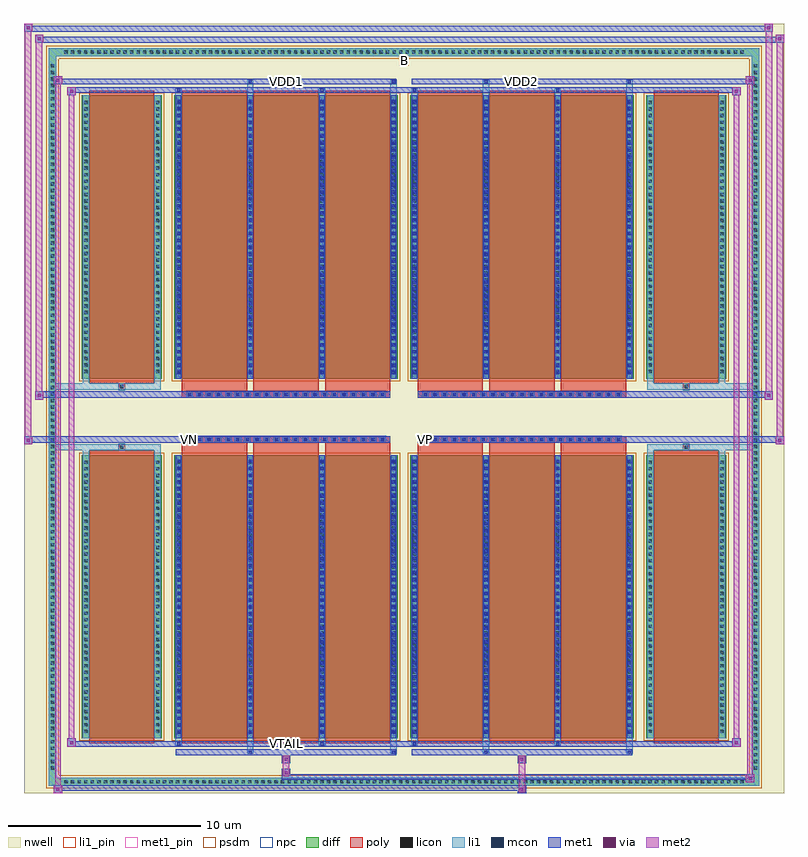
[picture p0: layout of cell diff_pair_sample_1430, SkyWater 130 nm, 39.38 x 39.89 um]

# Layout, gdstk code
import gdstk
lib = gdstk.Library(unit=1e-6, precision=5e-09)
def R(c, l, rs):  # rectangles x0, y0, x1, y1
    for r in rs: c.add(gdstk.rectangle(r[:2], r[2:], *l))
def A(c, l, x, y, w, h, nx, ny, dx, dy):  # array of equal rectangles
    R(c, l, [(x+i*dx, y+j*dy, x+i*dx+w, y+j*dy+h) for i in range(nx) for j in range(ny)])
def P(c, l, *ps):  # polygons
    for p in ps: c.add(gdstk.Polygon(p, *l))
nwell = (64, 20)
diff = (65, 20)
poly = (66, 20)
licon = (66, 44)
li1_pin = (67, 16)
li1 = (67, 20)
mcon = (67, 44)
met1_pin = (68, 16)
met1 = (68, 20)
via = (68, 44)
met2 = (69, 20)
psdm = (94, 20)
npc = (95, 20)

diff_pair_sample_1430 = lib.new_cell('diff_pair_sample_1430')
R(diff_pair_sample_1430, nwell, [(-19.69,-19.51,19.69,20.38), (-17.01,-17.7,-0.01,-0.8), (0.01,-17.7,17.01,-0.8), (-17.01,0.8,-0.01,17.7), (0.01,0.8,17.01,17.7)])
A(diff_pair_sample_1430, diff, -17.715, -19.11, 0.41, 0.41, 104, 2, 0.34, 37.81)
A(diff_pair_sample_1430, diff, -18.42, -18.395, 0.41, 0.41, 1, 108, 0, 0.34)
A(diff_pair_sample_1430, diff, 18.01, -18.395, 0.41, 0.41, 1, 108, 0, 0.34)
R(diff_pair_sample_1430, diff, [(-17.715,-19.11,17.715,-18.7), (-18.42,-18.395,-18.01,18.395), (18.01,-18.395,18.42,18.395), (-16.7,-16.655,-12.54,-1.985), (-11.9,-16.655,-0.32,-1.985), (0.32,-16.655,11.9,-1.985), (12.54,-16.655,16.7,-1.985), (-16.7,1.985,-12.54,16.655), (-11.9,1.985,-0.32,16.655), (0.32,1.985,11.9,16.655), (12.54,1.985,16.7,16.655), (-17.715,18.7,17.715,19.11)])
P(diff_pair_sample_1430, diff, [(18.42,19.11),(-18.42,19.11),(-18.42,-18.7),(-18.01,-18.7),(-18.01,18.7),(18.01,18.7),(18.01,-18.7),(-18.01,-18.7),(-18.42,-18.7),(-18.42,-19.11),(18.42,-19.11)])
A(diff_pair_sample_1430, poly, -11.51, -16.905, 3.38, 15.17, 3, 2, 3.71, 18.64)
A(diff_pair_sample_1430, poly, 0.71, -16.905, 3.38, 15.17, 3, 2, 3.71, 18.64)
A(diff_pair_sample_1430, poly, -11.51, -1.735, 3.38, 0.405, 3, 2, 3.71, 3.065)
A(diff_pair_sample_1430, poly, 0.71, -1.735, 3.38, 0.405, 3, 2, 3.71, 3.065)
A(diff_pair_sample_1430, poly, -11.275, -1.33, 0.33, 0.33, 21, 2, 0.5, 2.33)
A(diff_pair_sample_1430, poly, 0.945, -1.33, 0.33, 0.33, 21, 2, 0.5, 2.33)
R(diff_pair_sample_1430, poly, [(-16.31,-16.905,-12.93,-1.735), (12.93,-16.905,16.31,-1.735), (-14.785,-1.735,-14.455,-1.405), (-14.785,-1.735,-14.455,-1.405), (14.455,-1.735,14.785,-1.405), (14.455,-1.735,14.785,-1.405), (-11.51,-1.33,-0.71,-1), (0.71,-1.33,11.51,-1), (-11.51,1,-0.71,1.33), (0.71,1,11.51,1.33), (-14.785,1.405,-14.455,1.735), (-14.785,1.405,-14.455,1.735), (14.455,1.405,14.785,1.735), (14.455,1.405,14.785,1.735), (-16.31,1.735,-12.93,16.905), (12.93,1.735,16.31,16.905)])
A(diff_pair_sample_1430, licon, -17.595, -18.99, 0.17, 0.17, 104, 2, 0.34, 37.81)
A(diff_pair_sample_1430, licon, -18.3, -18.275, 0.17, 0.17, 1, 108, 0, 0.34)
A(diff_pair_sample_1430, licon, 18.13, -18.275, 0.17, 0.17, 1, 108, 0, 0.34)
A(diff_pair_sample_1430, licon, -16.56, -16.375, 0.17, 0.17, 1, 42, 0, 0.34)
A(diff_pair_sample_1430, licon, -12.85, -16.375, 0.17, 0.17, 1, 42, 0, 0.34)
A(diff_pair_sample_1430, licon, -11.76, -16.375, 0.17, 0.17, 4, 42, 3.71, 0.34)
A(diff_pair_sample_1430, licon, 0.46, -16.375, 0.17, 0.17, 4, 42, 3.71, 0.34)
A(diff_pair_sample_1430, licon, 12.68, -16.375, 0.17, 0.17, 1, 42, 0, 0.34)
A(diff_pair_sample_1430, licon, 16.39, -16.375, 0.17, 0.17, 1, 42, 0, 0.34)
A(diff_pair_sample_1430, licon, -11.195, -1.25, 0.17, 0.17, 21, 2, 0.5, 2.33)
A(diff_pair_sample_1430, licon, 1.025, -1.25, 0.17, 0.17, 21, 2, 0.5, 2.33)
A(diff_pair_sample_1430, licon, -16.56, 2.265, 0.17, 0.17, 1, 42, 0, 0.34)
A(diff_pair_sample_1430, licon, -12.85, 2.265, 0.17, 0.17, 1, 42, 0, 0.34)
A(diff_pair_sample_1430, licon, -11.76, 2.265, 0.17, 0.17, 4, 42, 3.71, 0.34)
A(diff_pair_sample_1430, licon, 0.46, 2.265, 0.17, 0.17, 4, 42, 3.71, 0.34)
A(diff_pair_sample_1430, licon, 12.68, 2.265, 0.17, 0.17, 1, 42, 0, 0.34)
A(diff_pair_sample_1430, licon, 16.39, 2.265, 0.17, 0.17, 1, 42, 0, 0.34)
R(diff_pair_sample_1430, licon, [(-14.705,-1.655,-14.535,-1.485), (14.535,-1.655,14.705,-1.485), (-14.705,1.485,-14.535,1.655), (14.535,1.485,14.705,1.655)])
R(diff_pair_sample_1430, li1_pin, [(-0.25,18.2,0.25,18.7)])
A(diff_pair_sample_1430, li1, -17.675, -19.07, 0.33, 0.33, 104, 2, 0.34, 37.81)
A(diff_pair_sample_1430, li1, -18.38, -18.355, 0.33, 0.33, 1, 108, 0, 0.34)
A(diff_pair_sample_1430, li1, 18.05, -18.355, 0.33, 0.33, 1, 108, 0, 0.34)
A(diff_pair_sample_1430, li1, -11.84, -16.655, 0.33, 14.67, 4, 2, 3.71, 18.64)
A(diff_pair_sample_1430, li1, 0.38, -16.655, 0.33, 14.67, 4, 2, 3.71, 18.64)
A(diff_pair_sample_1430, li1, -16.64, -16.455, 0.33, 0.33, 1, 42, 0, 0.34)
A(diff_pair_sample_1430, li1, -12.93, -16.455, 0.33, 0.33, 1, 42, 0, 0.34)
A(diff_pair_sample_1430, li1, -11.84, -16.455, 0.33, 0.33, 4, 42, 3.71, 0.34)
A(diff_pair_sample_1430, li1, 0.38, -16.455, 0.33, 0.33, 4, 42, 3.71, 0.34)
A(diff_pair_sample_1430, li1, 12.6, -16.455, 0.33, 0.33, 1, 42, 0, 0.34)
A(diff_pair_sample_1430, li1, 16.31, -16.455, 0.33, 0.33, 1, 42, 0, 0.34)
A(diff_pair_sample_1430, li1, -11.76, -16.425, 0.17, 0.17, 4, 40, 3.71, 0.36)
A(diff_pair_sample_1430, li1, -11.76, -16.425, 0.17, 14.21, 4, 2, 3.71, 18.64)
A(diff_pair_sample_1430, li1, 0.46, -16.425, 0.17, 0.17, 4, 40, 3.71, 0.36)
A(diff_pair_sample_1430, li1, 0.46, -16.425, 0.17, 14.21, 4, 2, 3.71, 18.64)
A(diff_pair_sample_1430, li1, -11.275, -1.33, 0.33, 0.33, 21, 2, 0.5, 2.33)
A(diff_pair_sample_1430, li1, 0.945, -1.33, 0.33, 0.33, 21, 2, 0.5, 2.33)
A(diff_pair_sample_1430, li1, -16.64, 2.185, 0.33, 0.33, 1, 42, 0, 0.34)
A(diff_pair_sample_1430, li1, -12.93, 2.185, 0.33, 0.33, 1, 42, 0, 0.34)
A(diff_pair_sample_1430, li1, -11.84, 2.185, 0.33, 0.33, 4, 42, 3.71, 0.34)
A(diff_pair_sample_1430, li1, 0.38, 2.185, 0.33, 0.33, 4, 42, 3.71, 0.34)
A(diff_pair_sample_1430, li1, 12.6, 2.185, 0.33, 0.33, 1, 42, 0, 0.34)
A(diff_pair_sample_1430, li1, 16.31, 2.185, 0.33, 0.33, 1, 42, 0, 0.34)
A(diff_pair_sample_1430, li1, -11.76, 2.215, 0.17, 0.17, 4, 40, 3.71, 0.36)
A(diff_pair_sample_1430, li1, 0.46, 2.215, 0.17, 0.17, 4, 40, 3.71, 0.36)
R(diff_pair_sample_1430, li1, [(-18.42,-19.11,-18.01,-18.7), (-18.42,-19.11,-18.01,-18.7), (-18.01,-19.11,18.01,-18.7), (18.01,-19.11,18.42,-18.7), (18.01,-19.11,18.42,-18.7), (-18.42,-18.7,-18.01,18.7), (18.01,-18.7,18.42,18.7), (-8.13,-17.46,-7.8,-16.655), (-8.05,-17.46,-7.88,-17.29), (-0.71,-17.46,-0.38,-16.655), (-0.63,-17.46,-0.46,-17.29), (4.09,-17.46,4.42,-16.655), (4.17,-17.46,4.34,-17.29), (11.51,-17.46,11.84,-16.655), (11.59,-17.46,11.76,-17.29), (-11.84,-17.03,-11.51,-16.655), (-11.76,-17.03,-11.59,-16.86), (-4.42,-17.03,-4.09,-16.655), (-4.34,-17.03,-4.17,-16.86), (0.38,-17.03,0.71,-16.655), (0.46,-17.03,0.63,-16.86), (7.8,-17.03,8.13,-16.655), (7.88,-17.03,8.05,-16.86), (-16.64,-16.655,-16.31,-1.985), (-12.93,-16.655,-12.6,-1.985), (12.6,-16.655,12.93,-1.985), (16.31,-16.655,16.64,-1.985), (-16.64,-1.985,-16.31,-1.405), (-12.93,-1.985,-12.6,-1.405), (12.6,-1.985,12.93,-1.405), (16.31,-1.985,16.64,-1.405), (-18.42,-1.735,-14.785,-1.405), (-16.64,-1.735,-14.785,-1.405), (-14.785,-1.735,-14.455,-1.405), (-14.455,-1.735,-12.6,-1.405), (12.6,-1.735,14.455,-1.405), (14.455,-1.735,14.785,-1.405), (14.455,-1.735,18.42,-1.405), (14.785,-1.735,16.64,-1.405), (-18.42,1.405,-14.785,1.735), (-16.64,1.405,-14.785,1.735), (-16.64,1.405,-16.31,1.985), (-14.785,1.405,-14.455,1.735), (-14.455,1.405,-12.6,1.735), (-12.93,1.405,-12.6,1.985), (12.6,1.405,14.455,1.735), (12.6,1.405,12.93,1.985), (14.455,1.405,14.785,1.735), (14.455,1.405,18.42,1.735), (14.785,1.405,16.64,1.735), (16.31,1.405,16.64,1.985), (-16.64,1.985,-16.31,16.655), (-12.93,1.985,-12.6,16.655), (12.6,1.985,12.93,16.655), (16.31,1.985,16.64,16.655), (-11.84,16.655,-11.51,17.03), (-8.13,16.655,-7.8,17.46), (-4.42,16.655,-4.09,17.03), (-0.71,16.655,-0.38,17.46), (0.38,16.655,0.71,17.03), (4.09,16.655,4.42,17.46), (7.8,16.655,8.13,17.03), (11.51,16.655,11.84,17.46), (-11.76,16.86,-11.59,17.03), (-4.34,16.86,-4.17,17.03), (0.46,16.86,0.63,17.03), (7.88,16.86,8.05,17.03), (-8.05,17.29,-7.88,17.46), (-0.63,17.29,-0.46,17.46), (4.17,17.29,4.34,17.46), (11.59,17.29,11.76,17.46), (-18.42,18.7,-18.01,19.11), (-18.42,18.7,-18.01,19.11), (-18.01,18.7,18.01,19.11), (18.01,18.7,18.42,19.11), (18.01,18.7,18.42,19.11)])
A(diff_pair_sample_1430, mcon, -11.76, -16.425, 0.17, 0.17, 4, 40, 3.71, 0.36)
A(diff_pair_sample_1430, mcon, 0.46, -16.425, 0.17, 0.17, 4, 40, 3.71, 0.36)
A(diff_pair_sample_1430, mcon, -11.195, -1.25, 0.17, 0.17, 21, 2, 0.5, 2.33)
A(diff_pair_sample_1430, mcon, 1.025, -1.25, 0.17, 0.17, 21, 2, 0.5, 2.33)
A(diff_pair_sample_1430, mcon, -11.76, 2.215, 0.17, 0.17, 4, 40, 3.71, 0.36)
A(diff_pair_sample_1430, mcon, 0.46, 2.215, 0.17, 0.17, 4, 40, 3.71, 0.36)
R(diff_pair_sample_1430, mcon, [(-8.05,-17.46,-7.88,-17.29), (-0.63,-17.46,-0.46,-17.29), (4.17,-17.46,4.34,-17.29), (11.59,-17.46,11.76,-17.29), (-11.76,-17.03,-11.59,-16.86), (-4.34,-17.03,-4.17,-16.86), (0.46,-17.03,0.63,-16.86), (7.88,-17.03,8.05,-16.86), (-11.76,16.86,-11.59,17.03), (-4.34,16.86,-4.17,17.03), (0.46,16.86,0.63,17.03), (7.88,16.86,8.05,17.03), (-8.05,17.29,-7.88,17.46), (-0.63,17.29,-0.46,17.46), (4.17,17.29,4.34,17.46), (11.59,17.29,11.76,17.46)])
R(diff_pair_sample_1430, met1_pin, [(-6.245,-17.07,-5.975,-16.8), (-11.245,-1.29,-10.975,-1.02), (0.975,-1.29,1.245,-1.02), (-6.245,17.25,-5.975,17.52), (5.975,17.25,6.245,17.52)])
A(diff_pair_sample_1430, met1, -11.82, -16.655, 0.29, 14.67, 4, 2, 3.71, 18.64)
A(diff_pair_sample_1430, met1, 0.4, -16.655, 0.29, 14.67, 4, 2, 3.71, 18.64)
A(diff_pair_sample_1430, met1, -11.82, -16.485, 0.29, 0.29, 4, 40, 3.71, 0.36)
A(diff_pair_sample_1430, met1, 0.4, -16.485, 0.29, 0.29, 4, 40, 3.71, 0.36)
A(diff_pair_sample_1430, met1, -11.255, -1.31, 0.29, 0.29, 21, 2, 0.5, 2.33)
A(diff_pair_sample_1430, met1, 0.965, -1.31, 0.29, 0.29, 21, 2, 0.5, 2.33)
A(diff_pair_sample_1430, met1, -11.82, 2.155, 0.29, 0.29, 4, 40, 3.71, 0.36)
A(diff_pair_sample_1430, met1, 0.4, 2.155, 0.29, 0.29, 4, 40, 3.71, 0.36)
R(diff_pair_sample_1430, met1, [(-18.15,-19.51,-17.72,-19.08), (5.895,-19.51,6.325,-19.08), (-18.15,-19.37,6.325,-19.08), (17.72,-18.94,18.15,-18.51), (-6.325,-18.8,18.15,-18.51), (-6.325,-18.66,-5.895,-18.23), (-6.325,-17.95,-5.895,-17.52), (5.895,-17.95,6.325,-17.52), (-11.82,-17.52,-0.4,-17.23), (-8.11,-17.52,-7.82,-17.23), (-0.69,-17.52,-0.4,-17.23), (0.4,-17.52,11.82,-17.23), (4.11,-17.52,4.4,-17.23), (11.53,-17.52,11.82,-17.23), (-17.44,-17.09,-17.01,-16.66), (-17.44,-17.09,-11.82,-16.8), (-11.82,-17.09,-11.53,-16.8), (-11.82,-17.09,-0.4,-16.8), (-4.4,-17.09,-4.11,-16.8), (-0.4,-17.09,0.4,-16.8), (0.4,-17.09,0.69,-16.8), (0.4,-17.09,11.82,-16.8), (7.82,-17.09,8.11,-16.8), (11.82,-17.09,17.44,-16.8), (17.01,-17.09,17.44,-16.66), (-19.69,-1.43,-19.26,-1), (19.26,-1.43,19.69,-1), (-19.69,-1.33,-0.71,-1), (-11.51,-1.33,-0.71,-1), (0.71,-1.33,11.51,-1), (0.71,-1.33,19.69,-1), (-19.12,0.9,-18.69,1.33), (18.69,0.9,19.12,1.33), (-19.12,1,-11.51,1.33), (-11.51,1,-0.71,1.33), (0.71,1,11.51,1.33), (11.51,1,19.12,1.33), (-17.44,16.66,-17.01,17.09), (17.01,16.66,17.44,17.09), (-17.44,16.8,-11.82,17.09), (-11.82,16.8,-11.53,17.09), (-11.82,16.8,-0.4,17.09), (-4.4,16.8,-4.11,17.09), (-0.4,16.8,0.4,17.09), (0.4,16.8,0.69,17.09), (0.4,16.8,11.82,17.09), (7.82,16.8,8.11,17.09), (11.82,16.8,17.44,17.09), (-18.15,17.23,-17.72,17.66), (-18.15,17.23,-11.82,17.52), (-11.82,17.23,-0.4,17.52), (-8.11,17.23,-7.82,17.52), (-0.69,17.23,-0.4,17.52), (0.4,17.23,11.82,17.52), (4.11,17.23,4.4,17.52), (11.53,17.23,11.82,17.52), (11.82,17.23,18.15,17.52), (17.72,17.23,18.15,17.66), (-19.12,19.38,-18.69,19.81), (-19.12,19.38,-17.01,19.71), (-17.01,19.38,17.01,19.71), (17.01,19.38,19.69,19.71), (19.26,19.38,19.69,19.81), (-19.69,19.95,-19.26,20.38), (-19.69,19.95,-17.01,20.28), (-17.01,19.95,17.01,20.28), (17.01,19.95,19.12,20.28), (18.69,19.95,19.12,20.38)])
R(diff_pair_sample_1430, via, [(-18.01,-19.37,-17.86,-19.22), (6.035,-19.37,6.185,-19.22), (17.86,-18.8,18.01,-18.65), (-6.185,-18.52,-6.035,-18.37), (-6.185,-17.81,-6.035,-17.66), (6.035,-17.81,6.185,-17.66), (-17.3,-16.95,-17.15,-16.8), (17.15,-16.95,17.3,-16.8), (-19.55,-1.29,-19.4,-1.14), (19.4,-1.29,19.55,-1.14), (-18.98,1.04,-18.83,1.19), (18.83,1.04,18.98,1.19), (-17.3,16.8,-17.15,16.95), (17.15,16.8,17.3,16.95), (-18.01,17.37,-17.86,17.52), (17.86,17.37,18.01,17.52), (-18.98,19.52,-18.83,19.67), (19.4,19.52,19.55,19.67), (-19.55,20.09,-19.4,20.24), (18.83,20.09,18.98,20.24)])
R(diff_pair_sample_1430, met2, [(-18.15,-19.51,-17.72,-19.08), (-18.08,-19.51,-17.79,17.66), (-17.79,-19.51,-17.72,-19.08), (-18.1,-19.46,-17.77,-19.13), (5.945,-19.46,6.275,-19.13), (5.945,-19.13,6.275,-17.9), (17.72,-18.94,18.15,-18.51), (17.79,-18.94,18.08,17.66), (18.08,-18.94,18.15,-18.51), (17.77,-18.89,18.1,-18.56), (-6.275,-18.61,-5.945,-18.28), (-6.275,-18.28,-5.945,-17.9), (-6.275,-17.9,-5.945,-17.57), (5.945,-17.9,6.275,-17.57), (-17.44,-17.09,-17.01,-16.66), (-17.37,-17.09,-17.08,17.09), (-17.08,-17.09,-17.01,-16.66), (17.01,-17.09,17.44,-16.66), (17.08,-17.09,17.37,17.09), (17.37,-17.09,17.44,-16.66), (-17.39,-17.04,-17.06,-16.71), (17.06,-17.04,17.39,-16.71), (-19.69,-1.43,-19.26,-1), (-19.64,-1.43,-19.31,20.38), (-19.31,-1.43,-19.26,-1), (19.26,-1.43,19.69,-1), (19.31,-1.43,19.64,19.81), (19.64,-1.43,19.69,-1), (-19.64,-1.38,-19.31,-1.05), (19.31,-1.38,19.64,-1.05), (-19.12,0.9,-18.69,1.33), (-19.07,0.9,-18.74,19.81), (-18.74,0.9,-18.69,1.33), (18.69,0.9,19.12,1.33), (18.74,0.9,19.07,20.38), (19.07,0.9,19.12,1.33), (-19.07,0.95,-18.74,1.28), (18.74,0.95,19.07,1.28), (-17.44,16.66,-17.01,17.09), (-17.08,16.66,-17.01,17.09), (17.01,16.66,17.44,17.09), (17.37,16.66,17.44,17.09), (-17.39,16.71,-17.06,17.04), (17.06,16.71,17.39,17.04), (-18.15,17.23,-17.72,17.66), (-17.79,17.23,-17.72,17.66), (17.72,17.23,18.15,17.66), (18.08,17.23,18.15,17.66), (-18.1,17.28,-17.77,17.61), (17.77,17.28,18.1,17.61), (-19.12,19.38,-18.69,19.81), (-18.74,19.38,-18.69,19.81), (19.26,19.38,19.69,19.81), (19.64,19.38,19.69,19.81), (-19.07,19.43,-18.74,19.76), (19.31,19.43,19.64,19.76), (-19.69,19.95,-19.26,20.38), (-19.31,19.95,-19.26,20.38), (18.69,19.95,19.12,20.38), (19.07,19.95,19.12,20.38), (-19.64,20,-19.31,20.33), (18.74,20,19.07,20.33)])
R(diff_pair_sample_1430, psdm, [(-16.83,-16.785,-12.41,-1.855), (-12.03,-16.785,-0.19,-1.855), (0.19,-16.785,12.03,-1.855), (12.41,-16.785,16.83,-1.855), (-16.83,1.855,-12.41,16.785), (-12.03,1.855,-0.19,16.785), (0.19,1.855,12.03,16.785), (12.41,1.855,16.83,16.785)])
P(diff_pair_sample_1430, psdm, [(18.55,19.24),(-18.55,19.24),(-18.55,-18.57),(-17.88,-18.57),(-17.88,18.57),(17.88,18.57),(17.88,-18.57),(-17.88,-18.57),(-18.55,-18.57),(-18.55,-19.24),(18.55,-19.24)])
A(diff_pair_sample_1430, npc, -11.295, -1.35, 0.37, 0.37, 21, 2, 0.5, 2.33)
A(diff_pair_sample_1430, npc, 0.925, -1.35, 0.37, 0.37, 21, 2, 0.5, 2.33)
R(diff_pair_sample_1430, npc, [(-14.805,-1.755,-14.435,-1.385), (14.435,-1.755,14.805,-1.385), (-11.295,-1.35,-10.425,-0.98), (-11.295,-1.35,-10.425,-0.98), (-10.795,-1.35,-9.925,-0.98), (-10.795,-1.35,-9.925,-0.98), (-10.295,-1.35,-9.425,-0.98), (-10.295,-1.35,-9.425,-0.98), (-9.795,-1.35,-8.925,-0.98), (-9.795,-1.35,-8.925,-0.98), (-9.295,-1.35,-8.425,-0.98), (-9.295,-1.35,-8.425,-0.98), (-8.795,-1.35,-7.925,-0.98), (-8.795,-1.35,-7.925,-0.98), (-8.295,-1.35,-7.425,-0.98), (-8.295,-1.35,-7.425,-0.98), (-7.795,-1.35,-6.925,-0.98), (-7.795,-1.35,-6.925,-0.98), (-7.295,-1.35,-6.425,-0.98), (-7.295,-1.35,-6.425,-0.98), (-6.795,-1.35,-5.925,-0.98), (-6.795,-1.35,-5.925,-0.98), (-6.295,-1.35,-5.425,-0.98), (-6.295,-1.35,-5.425,-0.98), (-5.795,-1.35,-4.925,-0.98), (-5.795,-1.35,-4.925,-0.98), (-5.295,-1.35,-4.425,-0.98), (-5.295,-1.35,-4.425,-0.98), (-4.795,-1.35,-3.925,-0.98), (-4.795,-1.35,-3.925,-0.98), (-4.295,-1.35,-3.425,-0.98), (-4.295,-1.35,-3.425,-0.98), (-3.795,-1.35,-2.925,-0.98), (-3.795,-1.35,-2.925,-0.98), (-3.295,-1.35,-2.425,-0.98), (-3.295,-1.35,-2.425,-0.98), (-2.795,-1.35,-1.925,-0.98), (-2.795,-1.35,-1.925,-0.98), (-2.295,-1.35,-1.425,-0.98), (-2.295,-1.35,-1.425,-0.98), (-1.795,-1.35,-0.925,-0.98), (-1.795,-1.35,-0.925,-0.98), (0.925,-1.35,1.795,-0.98), (0.925,-1.35,1.795,-0.98), (1.425,-1.35,2.295,-0.98), (1.425,-1.35,2.295,-0.98), (1.925,-1.35,2.795,-0.98), (1.925,-1.35,2.795,-0.98), (2.425,-1.35,3.295,-0.98), (2.425,-1.35,3.295,-0.98), (2.925,-1.35,3.795,-0.98), (2.925,-1.35,3.795,-0.98), (3.425,-1.35,4.295,-0.98), (3.425,-1.35,4.295,-0.98), (3.925,-1.35,4.795,-0.98), (3.925,-1.35,4.795,-0.98), (4.425,-1.35,5.295,-0.98), (4.425,-1.35,5.295,-0.98), (4.925,-1.35,5.795,-0.98), (4.925,-1.35,5.795,-0.98), (5.425,-1.35,6.295,-0.98), (5.425,-1.35,6.295,-0.98), (5.925,-1.35,6.795,-0.98), (5.925,-1.35,6.795,-0.98), (6.425,-1.35,7.295,-0.98), (6.425,-1.35,7.295,-0.98), (6.925,-1.35,7.795,-0.98), (6.925,-1.35,7.795,-0.98), (7.425,-1.35,8.295,-0.98), (7.425,-1.35,8.295,-0.98), (7.925,-1.35,8.795,-0.98), (7.925,-1.35,8.795,-0.98), (8.425,-1.35,9.295,-0.98), (8.425,-1.35,9.295,-0.98), (8.925,-1.35,9.795,-0.98), (8.925,-1.35,9.795,-0.98), (9.425,-1.35,10.295,-0.98), (9.425,-1.35,10.295,-0.98), (9.925,-1.35,10.795,-0.98), (9.925,-1.35,10.795,-0.98), (10.425,-1.35,11.295,-0.98), (10.425,-1.35,11.295,-0.98), (-11.295,0.98,-10.425,1.35), (-11.295,0.98,-10.425,1.35), (-10.795,0.98,-9.925,1.35), (-10.795,0.98,-9.925,1.35), (-10.295,0.98,-9.425,1.35), (-10.295,0.98,-9.425,1.35), (-9.795,0.98,-8.925,1.35), (-9.795,0.98,-8.925,1.35), (-9.295,0.98,-8.425,1.35), (-9.295,0.98,-8.425,1.35), (-8.795,0.98,-7.925,1.35), (-8.795,0.98,-7.925,1.35), (-8.295,0.98,-7.425,1.35), (-8.295,0.98,-7.425,1.35), (-7.795,0.98,-6.925,1.35), (-7.795,0.98,-6.925,1.35), (-7.295,0.98,-6.425,1.35), (-7.295,0.98,-6.425,1.35), (-6.795,0.98,-5.925,1.35), (-6.795,0.98,-5.925,1.35), (-6.295,0.98,-5.425,1.35), (-6.295,0.98,-5.425,1.35), (-5.795,0.98,-4.925,1.35), (-5.795,0.98,-4.925,1.35), (-5.295,0.98,-4.425,1.35), (-5.295,0.98,-4.425,1.35), (-4.795,0.98,-3.925,1.35), (-4.795,0.98,-3.925,1.35), (-4.295,0.98,-3.425,1.35), (-4.295,0.98,-3.425,1.35), (-3.795,0.98,-2.925,1.35), (-3.795,0.98,-2.925,1.35), (-3.295,0.98,-2.425,1.35), (-3.295,0.98,-2.425,1.35), (-2.795,0.98,-1.925,1.35), (-2.795,0.98,-1.925,1.35), (-2.295,0.98,-1.425,1.35), (-2.295,0.98,-1.425,1.35), (-1.795,0.98,-0.925,1.35), (-1.795,0.98,-0.925,1.35), (0.925,0.98,1.795,1.35), (0.925,0.98,1.795,1.35), (1.425,0.98,2.295,1.35), (1.425,0.98,2.295,1.35), (1.925,0.98,2.795,1.35), (1.925,0.98,2.795,1.35), (2.425,0.98,3.295,1.35), (2.425,0.98,3.295,1.35), (2.925,0.98,3.795,1.35), (2.925,0.98,3.795,1.35), (3.425,0.98,4.295,1.35), (3.425,0.98,4.295,1.35), (3.925,0.98,4.795,1.35), (3.925,0.98,4.795,1.35), (4.425,0.98,5.295,1.35), (4.425,0.98,5.295,1.35), (4.925,0.98,5.795,1.35), (4.925,0.98,5.795,1.35), (5.425,0.98,6.295,1.35), (5.425,0.98,6.295,1.35), (5.925,0.98,6.795,1.35), (5.925,0.98,6.795,1.35), (6.425,0.98,7.295,1.35), (6.425,0.98,7.295,1.35), (6.925,0.98,7.795,1.35), (6.925,0.98,7.795,1.35), (7.425,0.98,8.295,1.35), (7.425,0.98,8.295,1.35), (7.925,0.98,8.795,1.35), (7.925,0.98,8.795,1.35), (8.425,0.98,9.295,1.35), (8.425,0.98,9.295,1.35), (8.925,0.98,9.795,1.35), (8.925,0.98,9.795,1.35), (9.425,0.98,10.295,1.35), (9.425,0.98,10.295,1.35), (9.925,0.98,10.795,1.35), (9.925,0.98,10.795,1.35), (10.425,0.98,11.295,1.35), (10.425,0.98,11.295,1.35), (-14.805,1.385,-14.435,1.755), (14.435,1.385,14.805,1.755)])
diff_pair_sample_1430.add(gdstk.Label('VTAIL', (-6.11,-16.935), layer=68, texttype=5))
diff_pair_sample_1430.add(gdstk.Label('VN', (-11.11,-1.155), layer=68, texttype=5))
diff_pair_sample_1430.add(gdstk.Label('VP', (1.11,-1.155), layer=68, texttype=5))
diff_pair_sample_1430.add(gdstk.Label('B', (0,18.45), layer=67, texttype=5))
diff_pair_sample_1430.add(gdstk.Label('VDD2', (6.11,17.385), layer=68, texttype=5))
diff_pair_sample_1430.add(gdstk.Label('VDD1', (-6.11,17.385), layer=68, texttype=5))

lib.write_gds('diff_pair_sample_1430.gds')
